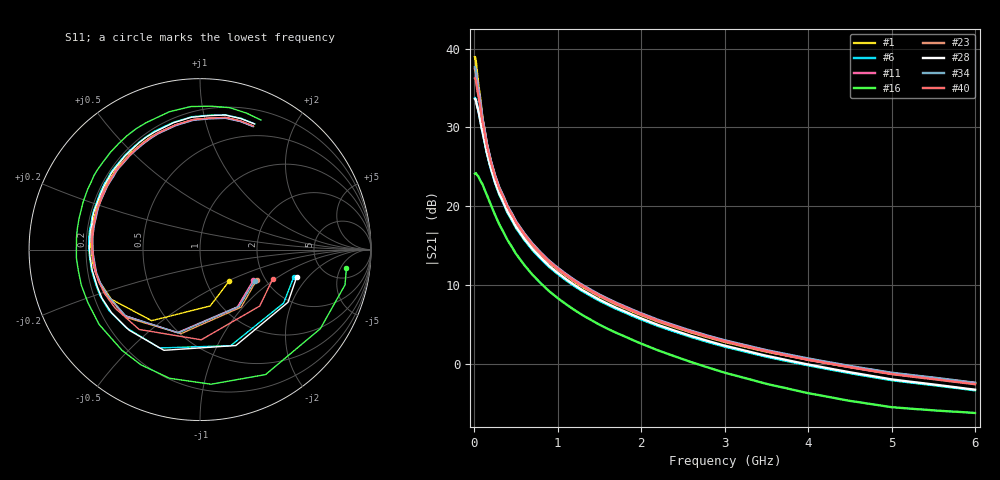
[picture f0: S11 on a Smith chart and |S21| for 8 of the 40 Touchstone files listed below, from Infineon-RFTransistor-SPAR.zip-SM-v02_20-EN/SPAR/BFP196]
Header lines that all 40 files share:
! Infineon Technologies  Discrete & RF Semiconductors
! BFP196
! Common Emitter S-Parameters:  Jan 2017
# GHz  S  MA  R  50
!  f  S11  S21  S12  S22
! GHz  MAG  ANG  MAG  ANG  MAG  ANG  MAG  ANG
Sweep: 10 MHz to 6 GHz
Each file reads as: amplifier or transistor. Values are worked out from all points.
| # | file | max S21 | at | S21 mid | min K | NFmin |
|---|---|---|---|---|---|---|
| 1 | BFP196_w_noise_VCE_7.0V_IC_70mA.s2p | 38.9 dB | 10 MHz | 5.3 dB at 2.2 GHz | 0.20 | 1.68 dB |
| 2 | BFP196_w_noise_VCE_7.0V_IC_75mA.s2p | 39.1 dB | 10 MHz | 5.3 dB at 2.2 GHz | 0.22 | 1.73 dB |
| 3 | BFP196_w_noise_VCE_7.0V_IC_80mA.s2p | 39.2 dB | 10 MHz | 5.3 dB at 2.2 GHz | 0.22 | 1.78 dB |
| 4 | BFP196_w_noise_VCE_8.0V_IC_5.0mA.s2p | 24.2 dB | 20 MHz | 1.6 dB at 2.2 GHz | -0.01 | 1.01 dB |
| 5 | BFP196_w_noise_VCE_8.0V_IC_10mA.s2p | 29.4 dB | 10 MHz | 3.6 dB at 2.2 GHz | 0.02 | 0.99 dB |
| 6 | BFP196_w_noise_VCE_8.0V_IC_20mA.s2p | 33.7 dB | 10 MHz | 4.8 dB at 2.2 GHz | 0.03 | 1.10 dB |
| 7 | BFP196_w_noise_VCE_8.0V_IC_25mA.s2p | 34.9 dB | 10 MHz | 5.0 dB at 2.2 GHz | 0.07 | 1.15 dB |
| 8 | BFP196_w_noise_VCE_8.0V_IC_30mA.s2p | 35.8 dB | 10 MHz | 5.2 dB at 2.2 GHz | 0.10 | 1.22 dB |
| 9 | BFP196_w_noise_VCE_8.0V_IC_35mA.s2p | 36.5 dB | 10 MHz | 5.3 dB at 2.2 GHz | 0.09 | 1.28 dB |
| 10 | BFP196_w_noise_VCE_8.0V_IC_40mA.s2p | 37.0 dB | 10 MHz | 5.4 dB at 2.2 GHz | 0.13 | 1.34 dB |
| 11 | BFP196_w_noise_VCE_8.0V_IC_45mA.s2p | 37.5 dB | 10 MHz | 5.4 dB at 2.2 GHz | 0.15 | 1.39 dB |
| 12 | BFP196_w_noise_VCE_8.0V_IC_50mA.s2p | 37.9 dB | 10 MHz | 5.4 dB at 2.2 GHz | 0.16 | 1.45 dB |
| 13 | BFP196_w_noise_VCE_8.0V_IC_60mA.s2p | 38.4 dB | 10 MHz | 5.5 dB at 2.2 GHz | 0.17 | 1.56 dB |
| 14 | BFP196_w_noise_VCE_8.0V_IC_65mA.s2p | 38.6 dB | 10 MHz | 5.5 dB at 2.2 GHz | 0.20 | 1.62 dB |
| 15 | BFP196_w_noise_VCE_8.0V_IC_70mA.s2p | 38.8 dB | 10 MHz | 5.4 dB at 2.2 GHz | 0.20 | 1.68 dB |
| 16 | BFP196_w_noise_VCE_9.0V_IC_5.0mA.s2p | 24.2 dB | 20 MHz | 1.7 dB at 2.2 GHz | 0.00 | 1.01 dB |
| 17 | BFP196_w_noise_VCE_9.0V_IC_10mA.s2p | 29.4 dB | 20 MHz | 3.7 dB at 2.2 GHz | 0.02 | 0.99 dB |
| 18 | BFP196_w_noise_VCE_9.0V_IC_20mA.s2p | 33.7 dB | 10 MHz | 4.9 dB at 2.2 GHz | 0.05 | 1.10 dB |
| 19 | BFP196_w_noise_VCE_9.0V_IC_25mA.s2p | 34.9 dB | 10 MHz | 5.1 dB at 2.2 GHz | 0.06 | 1.15 dB |
| 20 | BFP196_w_noise_VCE_9.0V_IC_30mA.s2p | 35.7 dB | 10 MHz | 5.3 dB at 2.2 GHz | 0.11 | 1.22 dB |
| 21 | BFP196_w_noise_VCE_9.0V_IC_35mA.s2p | 36.4 dB | 10 MHz | 5.4 dB at 2.2 GHz | 0.13 | 1.28 dB |
| 22 | BFP196_w_noise_VCE_9.0V_IC_40mA.s2p | 37.0 dB | 10 MHz | 5.4 dB at 2.2 GHz | 0.13 | 1.34 dB |
| 23 | BFP196_w_noise_VCE_9.0V_IC_45mA.s2p | 37.4 dB | 10 MHz | 5.5 dB at 2.2 GHz | 0.15 | 1.39 dB |
| 24 | BFP196_w_noise_VCE_9.0V_IC_50mA.s2p | 37.8 dB | 10 MHz | 5.5 dB at 2.2 GHz | 0.14 | 1.45 dB |
| 25 | BFP196_w_noise_VCE_9.0V_IC_60mA.s2p | 38.3 dB | 10 MHz | 5.5 dB at 2.2 GHz | 0.16 | 1.56 dB |
| 26 | BFP196_w_noise_VCE_10.V_IC_5.0mA.s2p | 24.2 dB | 20 MHz | 1.7 dB at 2.2 GHz | 0.01 | 1.01 dB |
| 27 | BFP196_w_noise_VCE_10.V_IC_10mA.s2p | 29.4 dB | 10 MHz | 3.7 dB at 2.2 GHz | 0.03 | 0.99 dB |
| 28 | BFP196_w_noise_VCE_10.V_IC_20mA.s2p | 33.6 dB | 10 MHz | 4.9 dB at 2.2 GHz | 0.06 | 1.10 dB |
| 29 | BFP196_w_noise_VCE_10.V_IC_25mA.s2p | 34.8 dB | 10 MHz | 5.2 dB at 2.2 GHz | 0.08 | 1.15 dB |
| 30 | BFP196_w_noise_VCE_10.V_IC_30mA.s2p | 35.7 dB | 10 MHz | 5.3 dB at 2.2 GHz | 0.11 | 1.22 dB |
| 31 | BFP196_w_noise_VCE_10.V_IC_35mA.s2p | 36.3 dB | 10 MHz | 5.4 dB at 2.2 GHz | 0.15 | 1.28 dB |
| 32 | BFP196_w_noise_VCE_10.V_IC_40mA.s2p | 36.9 dB | 10 MHz | 5.5 dB at 2.2 GHz | 0.18 | 1.34 dB |
| 33 | BFP196_w_noise_VCE_10.V_IC_45mA.s2p | 37.3 dB | 10 MHz | 5.5 dB at 2.2 GHz | 0.17 | 1.39 dB |
| 34 | BFP196_w_noise_VCE_10.V_IC_50mA.s2p | 37.7 dB | 10 MHz | 5.6 dB at 2.2 GHz | 0.17 | 1.45 dB |
| 35 | BFP196_w_noise_VCE_11.V_IC_5.0mA.s2p | 24.2 dB | 20 MHz | 1.8 dB at 2.2 GHz | 0.00 | 1.01 dB |
| 36 | BFP196_w_noise_VCE_11.V_IC_10mA.s2p | 29.4 dB | 20 MHz | 3.8 dB at 2.2 GHz | 0.03 | 0.99 dB |
| 37 | BFP196_w_noise_VCE_11.V_IC_20mA.s2p | 33.6 dB | 10 MHz | 5.0 dB at 2.2 GHz | 0.08 | 1.10 dB |
| 38 | BFP196_w_noise_VCE_11.V_IC_25mA.s2p | 34.7 dB | 10 MHz | 5.2 dB at 2.2 GHz | 0.12 | 1.15 dB |
| 39 | BFP196_w_noise_VCE_11.V_IC_30mA.s2p | 35.6 dB | 10 MHz | 5.4 dB at 2.2 GHz | 0.18 | 1.22 dB |
| 40 | BFP196_w_noise_VCE_11.V_IC_35mA.s2p | 36.2 dB | 10 MHz | 5.5 dB at 2.2 GHz | 0.16 | 1.28 dB |

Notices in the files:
Hoja de datos/BFP 450/Infineon-RFTransistor-SPAR.zip-SM-v02_20-EN/SPAR/BFP196/BFP196_w_noise_VCE_10.V_IC_10mA.s2p:
(c) 2017  Infineon Technologies AG, Munich
